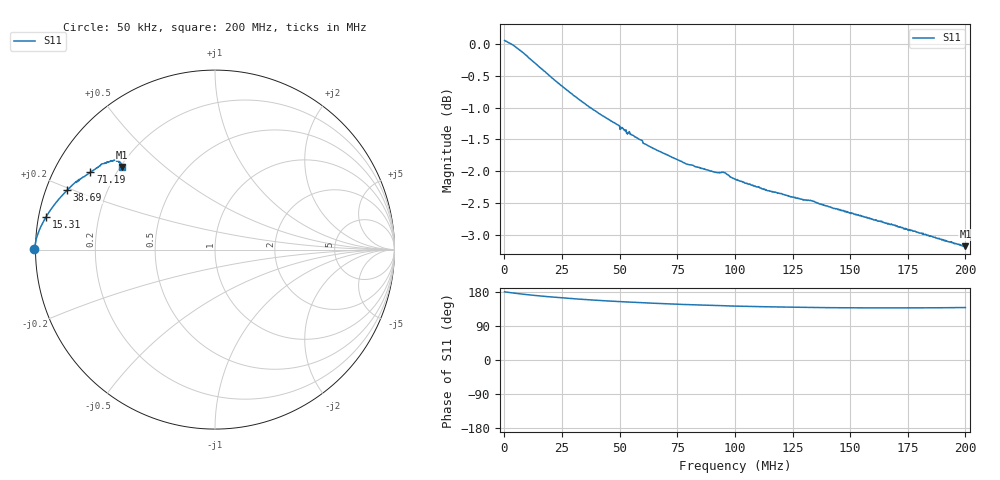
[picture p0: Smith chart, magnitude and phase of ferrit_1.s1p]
# HZ S RI R 50
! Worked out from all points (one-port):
!   1010 points, 50 kHz to 200 MHz, reference 50 ohm
!   lowest |S11| = -3.2 dB at 200 MHz (marker M1), VSWR 5.52, Z = 10.3 + j18.3 ohm
!   |S11| at or under -10 dB: nowhere
!   S11 on the Smith chart (normalised r, x): 50 kHz: -0.00, +0.00; 15.31 MHz: 0.02, +0.10; 38.69 MHz: 0.06, +0.19; 71.19 MHz: 0.11, +0.28; 200 MHz: 0.21, +0.37
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50000  -1.007 0.00112
842664  -1.005 0.0145
3418822  -0.9977 0.0513
7382142  -0.9817 0.1012
1.11473e7  -0.9631 0.1421
1.530878e7  -0.9414 0.1813
2.085743e7  -0.9125 0.2265
2.521708e7  -0.8895 0.257
3.136023e7  -0.8588 0.294
3.869237e7  -0.8236 0.3308
4.562818e7  -0.7935 0.3611
5.0186e7  -0.7708 0.3743
5.89053e7  -0.7387 0.4019
6.108513e7  -0.7279 0.4076
7.119159e7  -0.6941 0.4318
7.515491e7  -0.6812 0.44
8.327972e7  -0.6592 0.4541
9.298985e7  -0.6391 0.4684
9.635868e7  -0.6297 0.4777
1.001238e8  -0.6183 0.4797
1.128065e8  -0.5933 0.4882
1.250927e8  -0.5746 0.4941
1.35001e8  -0.5618 0.4982
1.500617e8  -0.5442 0.4952
1.633388e8  -0.5338 0.4903
1.750306e8  -0.5266 0.4821
1.914784e8  -0.5203 0.4682
1.999995e8  -0.5191 0.4597
